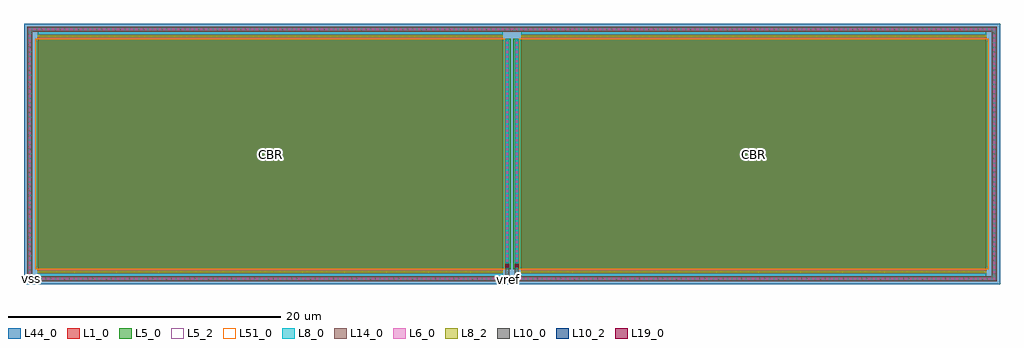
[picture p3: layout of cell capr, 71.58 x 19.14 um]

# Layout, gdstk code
from math import pi, radians
import gdstk
lib = gdstk.Library(unit=1e-6, precision=1e-09)
def R(c, l, rs):  # rectangles x0, y0, x1, y1
    for r in rs: c.add(gdstk.rectangle(r[:2], r[2:], *l))
def A(c, l, x, y, w, h, nx, ny, dx, dy):  # array of equal rectangles
    R(c, l, [(x+i*dx, y+j*dy, x+i*dx+w, y+j*dy+h) for i in range(nx) for j in range(ny)])
L1_0 = (1, 0)
L5_0 = (5, 0)
L5_2 = (5, 2)
L6_0 = (6, 0)
L8_0 = (8, 0)
L8_2 = (8, 2)
L10_0 = (10, 0)
L10_2 = (10, 2)
L14_0 = (14, 0)
L19_0 = (19, 0)
L44_0 = (44, 0)
L51_0 = (51, 0)

nmoshv = lib.new_cell('nmosHV')
R(nmoshv, L1_0, [(0,0,0.3,0.3), (0,0,17.58,34.1), (17.28,0,17.58,0.3)])
R(nmoshv, L5_0, [(0.34,-0.18,17.24,34.28)])
R(nmoshv, L5_2, [(0.34,-0.18,17.24,34.28)])
A(nmoshv, L6_0, 0.07, 0.07, 0.16, 0.16, 1, 4, 0, 0.34)
A(nmoshv, L6_0, 17.35, 0.07, 0.16, 0.16, 1, 4, 0, 0.34)
A(nmoshv, L6_0, 0.07, 1.435, 0.16, 0.16, 1, 4, 0, 0.34)
A(nmoshv, L6_0, 17.35, 1.435, 0.16, 0.16, 1, 4, 0, 0.34)
A(nmoshv, L6_0, 0.07, 2.8, 0.16, 0.16, 1, 3, 0, 0.34)
A(nmoshv, L6_0, 17.35, 2.8, 0.16, 0.16, 1, 3, 0, 0.34)
A(nmoshv, L6_0, 0.07, 3.825, 0.16, 0.16, 1, 4, 0, 0.34)
A(nmoshv, L6_0, 17.35, 3.825, 0.16, 0.16, 1, 4, 0, 0.34)
A(nmoshv, L6_0, 0.07, 5.19, 0.16, 0.16, 1, 3, 0, 0.34)
A(nmoshv, L6_0, 17.35, 5.19, 0.16, 0.16, 1, 3, 0, 0.34)
A(nmoshv, L6_0, 0.07, 6.215, 0.16, 0.16, 1, 4, 0, 0.34)
A(nmoshv, L6_0, 17.35, 6.215, 0.16, 0.16, 1, 4, 0, 0.34)
A(nmoshv, L6_0, 0.07, 7.58, 0.16, 0.16, 1, 3, 0, 0.34)
A(nmoshv, L6_0, 17.35, 7.58, 0.16, 0.16, 1, 3, 0, 0.34)
A(nmoshv, L6_0, 0.07, 8.605, 0.16, 0.16, 1, 4, 0, 0.34)
A(nmoshv, L6_0, 17.35, 8.605, 0.16, 0.16, 1, 4, 0, 0.34)
A(nmoshv, L6_0, 0.07, 9.97, 0.16, 0.16, 1, 3, 0, 0.34)
A(nmoshv, L6_0, 17.35, 9.97, 0.16, 0.16, 1, 3, 0, 0.34)
A(nmoshv, L6_0, 0.07, 10.995, 0.16, 0.16, 1, 4, 0, 0.34)
A(nmoshv, L6_0, 17.35, 10.995, 0.16, 0.16, 1, 4, 0, 0.34)
A(nmoshv, L6_0, 0.07, 12.36, 0.16, 0.16, 1, 3, 0, 0.34)
A(nmoshv, L6_0, 17.35, 12.36, 0.16, 0.16, 1, 3, 0, 0.34)
A(nmoshv, L6_0, 0.07, 13.385, 0.16, 0.16, 1, 4, 0, 0.34)
A(nmoshv, L6_0, 17.35, 13.385, 0.16, 0.16, 1, 4, 0, 0.34)
A(nmoshv, L6_0, 0.07, 14.75, 0.16, 0.16, 1, 3, 0, 0.34)
A(nmoshv, L6_0, 17.35, 14.75, 0.16, 0.16, 1, 3, 0, 0.34)
A(nmoshv, L6_0, 0.07, 15.775, 0.16, 0.16, 1, 4, 0, 0.34)
A(nmoshv, L6_0, 17.35, 15.775, 0.16, 0.16, 1, 4, 0, 0.34)
A(nmoshv, L6_0, 0.07, 17.14, 0.16, 0.16, 1, 4, 0, 0.34)
A(nmoshv, L6_0, 17.35, 17.14, 0.16, 0.16, 1, 4, 0, 0.34)
A(nmoshv, L6_0, 0.07, 18.505, 0.16, 0.16, 1, 3, 0, 0.34)
A(nmoshv, L6_0, 17.35, 18.505, 0.16, 0.16, 1, 3, 0, 0.34)
A(nmoshv, L6_0, 0.07, 19.53, 0.16, 0.16, 1, 4, 0, 0.34)
A(nmoshv, L6_0, 17.35, 19.53, 0.16, 0.16, 1, 4, 0, 0.34)
A(nmoshv, L6_0, 0.07, 20.895, 0.16, 0.16, 1, 3, 0, 0.34)
A(nmoshv, L6_0, 17.35, 20.895, 0.16, 0.16, 1, 3, 0, 0.34)
A(nmoshv, L6_0, 0.07, 21.92, 0.16, 0.16, 1, 4, 0, 0.34)
A(nmoshv, L6_0, 17.35, 21.92, 0.16, 0.16, 1, 4, 0, 0.34)
A(nmoshv, L6_0, 0.07, 23.285, 0.16, 0.16, 1, 3, 0, 0.34)
A(nmoshv, L6_0, 17.35, 23.285, 0.16, 0.16, 1, 3, 0, 0.34)
A(nmoshv, L6_0, 0.07, 24.31, 0.16, 0.16, 1, 4, 0, 0.34)
A(nmoshv, L6_0, 17.35, 24.31, 0.16, 0.16, 1, 4, 0, 0.34)
A(nmoshv, L6_0, 0.07, 25.675, 0.16, 0.16, 1, 3, 0, 0.34)
A(nmoshv, L6_0, 17.35, 25.675, 0.16, 0.16, 1, 3, 0, 0.34)
A(nmoshv, L6_0, 0.07, 26.7, 0.16, 0.16, 1, 4, 0, 0.34)
A(nmoshv, L6_0, 17.35, 26.7, 0.16, 0.16, 1, 4, 0, 0.34)
A(nmoshv, L6_0, 0.07, 28.065, 0.16, 0.16, 1, 3, 0, 0.34)
A(nmoshv, L6_0, 17.35, 28.065, 0.16, 0.16, 1, 3, 0, 0.34)
A(nmoshv, L6_0, 0.07, 29.09, 0.16, 0.16, 1, 4, 0, 0.34)
A(nmoshv, L6_0, 17.35, 29.09, 0.16, 0.16, 1, 4, 0, 0.34)
A(nmoshv, L6_0, 0.07, 30.455, 0.16, 0.16, 1, 3, 0, 0.34)
A(nmoshv, L6_0, 17.35, 30.455, 0.16, 0.16, 1, 3, 0, 0.34)
A(nmoshv, L6_0, 0.07, 31.48, 0.16, 0.16, 1, 4, 0, 0.34)
A(nmoshv, L6_0, 17.35, 31.48, 0.16, 0.16, 1, 4, 0, 0.34)
A(nmoshv, L6_0, 0.07, 32.845, 0.16, 0.16, 1, 3, 0, 0.34)
A(nmoshv, L6_0, 17.35, 32.845, 0.16, 0.16, 1, 3, 0, 0.34)
R(nmoshv, L6_0, [(0.07,33.87,0.23,34.03), (17.35,33.87,17.51,34.03)])
R(nmoshv, L8_0, [(0.07,0,0.23,34.1), (17.35,0,17.51,34.1)])
R(nmoshv, L8_2, [(0.07,0,0.23,34.1), (17.35,0,17.51,34.1)])
R(nmoshv, L44_0, [(-0.27,-0.52,17.85,34.62)])
R(nmoshv, L51_0, [(0.34,-0.18,17.24,34.28)])
nmoshv.add(gdstk.Label('nmosHV', (8.79,17.05), layer=63, texttype=0))
nmoshv.add(gdstk.Label('nmosHV', (8.79,17.05), layer=51, texttype=0))

capr = lib.new_cell('capr')
R(capr, L1_0, [(-0.73,-0.51,70.31,-0.21), (-0.73,-0.51,-0.43,18.09), (70.01,-0.51,70.31,18.09), (-0.73,17.79,70.31,18.09)])
R(capr, L5_0, [(34.2,0.34,34.7,17.24), (34.88,0.34,35.38,17.24)])
A(capr, L6_0, -0.65, -0.44, 0.16, 0.16, 209, 2, 0.34, 18.3)
A(capr, L6_0, -0.66, 0.04, 0.16, 0.16, 1, 52, 0, 0.34)
A(capr, L6_0, 70.08, 0.04, 0.16, 0.16, 1, 52, 0, 0.34)
A(capr, L6_0, 34.35, 0.55, 0.16, 0.16, 1, 49, 0, 0.34)
A(capr, L6_0, 35.07, 0.55, 0.16, 0.16, 1, 49, 0, 0.34)
R(capr, L8_0, [(-0.71,-0.49,70.29,-0.23), (-0.71,-0.49,-0.45,18.07), (70.03,-0.49,70.29,18.07), (0,-0.23,34.1,0.23), (35.48,-0.23,69.58,0.23), (34.3,0.36,34.56,17.22), (35.02,0.36,35.28,17.22), (0,17.35,34.1,17.81), (35.48,17.35,69.58,17.81), (-0.71,17.81,70.29,18.07)])
R(capr, L8_2, [(-0.71,-0.49,-0.21,-0.23)])
R(capr, L10_0, [(34.285,-0.54,34.575,0.725), (34.285,-0.54,35.295,-0.25), (35.005,-0.54,35.295,0.725)])
R(capr, L10_2, [(34.285,-0.54,34.785,-0.25)])
R(capr, L14_0, [(-0.76,-0.54,70.34,-0.18), (-0.76,-0.54,-0.4,18.12), (69.98,-0.54,70.34,18.12), (-0.76,17.76,70.34,18.12)])
R(capr, L19_0, [(34.335,0.485,34.525,0.675), (35.055,0.485,35.245,0.675)])
R(capr, L44_0, [(-1,-0.78,70.58,18.36)])
capr.add(gdstk.Reference(nmoshv, (0,17.58), rotation=3*pi/2))
capr.add(gdstk.Reference(nmoshv, (69.58,17.58), rotation=3*pi/2, x_reflection=True))
capr.add(gdstk.Label('vss', (-0.46,-0.36), layer=8, texttype=25))
capr.add(gdstk.Label('vref', (34.535,-0.395), layer=10, texttype=25))
capr.add(gdstk.Label('CBR', (17.05,8.79), layer=63, texttype=0))
capr.add(gdstk.Label('CBR', (52.53,8.79), layer=63, texttype=0))

lib.write_gds('capr.gds')
